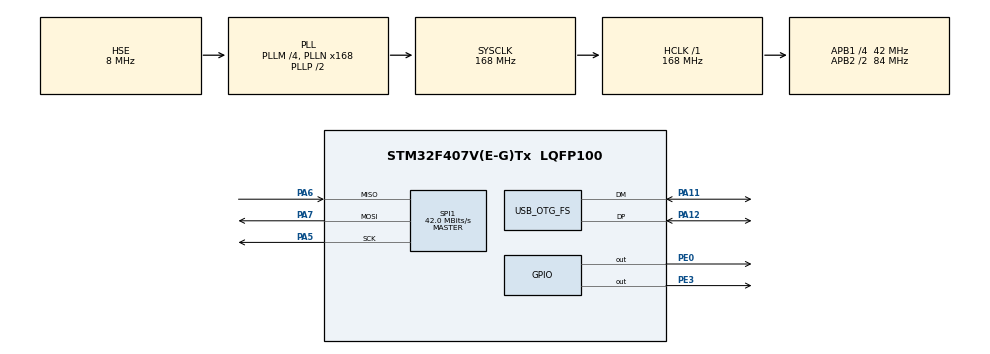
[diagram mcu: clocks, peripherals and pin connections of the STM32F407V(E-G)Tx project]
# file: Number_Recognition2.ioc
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EdgeImpulse.Number_Recognition_MT2_.1.0.1.MachineLearningCcNumberIiRecognitionIiMT2IiJjCore=true
Mcu.Family=STM32F4
Mcu.Name=STM32F407V(E-G)Tx
Mcu.Package=LQFP100
NVIC.OTG_FS_IRQn=true\:0\:0\:false\:false\:true\:false\:true\:true
NVIC.PriorityGroup=NVIC_PRIORITYGROUP_4
PA11.Mode=Device_Only
PA11.Signal=USB_OTG_FS_DM
PA12.Mode=Device_Only
PA12.Signal=USB_OTG_FS_DP
PA13.Mode=Trace_Asynchronous_SW
PA13.Signal=SYS_JTMS-SWDIO
PA14.Mode=Trace_Asynchronous_SW
PA14.Signal=SYS_JTCK-SWCLK
PA5.Mode=Full_Duplex_Master
PA5.Signal=SPI1_SCK
PA6.Mode=Full_Duplex_Master
PA6.Signal=SPI1_MISO
PA7.Mode=Full_Duplex_Master
PA7.Signal=SPI1_MOSI
PB3.Mode=Trace_Asynchronous_SW
PB3.Signal=SYS_JTDO-SWO
PE0.Signal=GPIO_Output
PE3.Signal=GPIO_Output
PH0-OSC_IN.Mode=HSE-External-Oscillator
PH0-OSC_IN.Signal=RCC_OSC_IN
PH1-OSC_OUT.Mode=HSE-External-Oscillator
PH1-OSC_OUT.Signal=RCC_OSC_OUT
ProjectManager.HeapSize=0x200
ProjectManager.StackSize=0x400
ProjectManager.TargetToolchain=STM32CubeIDE
RCC.48MHZClocksFreq_Value=48000000
RCC.AHBFreq_Value=168000000
RCC.APB1CLKDivider=RCC_HCLK_DIV4
RCC.APB1Freq_Value=42000000
RCC.APB1TimFreq_Value=84000000
RCC.APB2CLKDivider=RCC_HCLK_DIV2
RCC.APB2Freq_Value=84000000
RCC.APB2TimFreq_Value=168000000
RCC.CortexFreq_Value=168000000
RCC.HCLKFreq_Value=168000000
RCC.HSE_VALUE=8000000
RCC.HSI_VALUE=16000000
RCC.LSE_VALUE=32768
RCC.PLLM=4
RCC.PLLN=168
RCC.PLLQ=7
RCC.SYSCLKFreq_VALUE=168000000
RCC.SYSCLKSource=RCC_SYSCLKSOURCE_PLLCLK
RCC.VCOOutputFreq_Value=336000000
SPI1.CalculateBaudRate=42.0 MBits/s
SPI1.Direction=SPI_DIRECTION_2LINES
SPI1.Mode=SPI_MODE_MASTER
SPI1.VirtualType=VM_MASTER
USB_DEVICE.CLASS_NAME_FS=CDC
USB_DEVICE.VirtualMode-CDC_FS=Cdc
USB_DEVICE.VirtualModeFS=Cdc_FS
USB_OTG_FS.VirtualMode=Device_Only
VP_CRC_VS_CRC.Mode=CRC_Activate
VP_EdgeImpulse.Number_Recognition_MT2__VS_NumberIiRecognitionIiMT2IiJjMachineLearning_1.0.1_1.0.1.Mode=NumberIiRecognitionIiMT2IiJjMachineLearning
VP_USB_DEVICE_VS_USB_DEVICE_CDC_FS.Mode=CDC_FS
board=custom

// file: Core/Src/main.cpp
/* USER CODE BEGIN Header */
/**
  ******************************************************************************
  * @file           : main.c
  * @brief          : Main program body
  ******************************************************************************
  * @attention
  *
  * Copyright (c) 2022 STMicroelectronics.
  * All rights reserved.
  *
  * This software is licensed under terms that can be found in the LICENSE file
  * in the root directory of this software component.
  * If no LICENSE file comes with this software, it is provided AS-IS.
  *
  ******************************************************************************
  */
/* USER CODE END Header */
#include "main.h"
#include "usb_device.h"
/* USER CODE BEGIN Includes */
#include "usbd_cdc_if.h"
#include "string.h"
#include "MY_LIS3DSH.h"
#include <stdio.h>
/* USER CODE END Includes */

/* USER CODE BEGIN PTD */
uint8_t sendbuffer[]="Hello world\n";
LIS3DSH_InitTypeDef myAccConfigDef;
/* USER CODE END PTD */

 CRC_HandleTypeDef hcrc;

SPI_HandleTypeDef hspi1;

void SystemClock_Config(void);
static void MX_GPIO_Init(void);
static void MX_SPI1_Init(void);
static void MX_CRC_Init(void);

/* USER CODE BEGIN 0 */
    char *comma = ",";
	char *end = " \n";
	char *message[500] = {};
    char * recivebuffer[64];
/* USER CODE END 0 */

int main(void)
{

  /* MCU Configuration--------------------------------------------------------*/

  /* Reset of all peripherals, Initializes the Flash interface and the Systick. */
  HAL_Init();

  /* Configure the system clock */
  SystemClock_Config();

  /* Initialize all configured peripherals */
  MX_GPIO_Init();
  MX_USB_DEVICE_Init();
  MX_SPI1_Init();
  MX_CRC_Init();
  /* USER CODE BEGIN 2 */
  myAccConfigDef.dataRate = LIS3DSH_DATARATE_25;
  	myAccConfigDef.fullScale = LIS3DSH_FULLSCALE_4;
  	myAccConfigDef.antiAliasingBW = LIS3DSH_FILTER_BW_50;//update rate
  	myAccConfigDef.enableAxes = LIS3DSH_XYZ_ENABLE;
  	myAccConfigDef.interruptEnable = false;
  	LIS3DSH_Init(&hspi1, &myAccConfigDef);
  	LIS3DSH_DataScaled myscaledata;
  /* USER CODE END 2 */

  /* Infinite loop */
  /* USER CODE BEGIN WHILE */
  while (1)
  {
	 // CDC_Transmit_FS(sendbuffer, strlen(sendbuffer));
	//  HAL_Delay(100);
	  	 char *ret;
	 // ret = strstr(recivebuffer, "9");
	 			  	  //  if (!ret)
	 			  	    {
	  if (LIS3DSH_PollDRDY(100)==true)
	  {
		myscaledata=LIS3DSH_GetDataScaled();

	  }
    /* USER CODE END WHILE */

	 			  	    }
  }
}

void SystemClock_Config(void)
{
  RCC_OscInitTypeDef RCC_OscInitStruct = {0};
  RCC_ClkInitTypeDef RCC_ClkInitStruct = {0};

  /** Configure the main internal regulator output voltage
  */
  __HAL_RCC_PWR_CLK_ENABLE();
  __HAL_PWR_VOLTAGESCALING_CONFIG(PWR_REGULATOR_VOLTAGE_SCALE1);

  /** Initializes the RCC Oscillators according to the specified parameters
  * in the RCC_OscInitTypeDef structure.
  */
  RCC_OscInitStruct.OscillatorType = RCC_OSCILLATORTYPE_HSE;
  RCC_OscInitStruct.HSEState = RCC_HSE_ON;
  RCC_OscInitStruct.PLL.PLLState = RCC_PLL_ON;
  RCC_OscInitStruct.PLL.PLLSource = RCC_PLLSOURCE_HSE;
  RCC_OscInitStruct.PLL.PLLM = 4;
  RCC_OscInitStruct.PLL.PLLN = 168;
  RCC_OscInitStruct.PLL.PLLP = RCC_PLLP_DIV2;
  RCC_OscInitStruct.PLL.PLLQ = 7;
  if (HAL_RCC_OscConfig(&RCC_OscInitStruct) != HAL_OK)
  {
    Error_Handler();
  }

  /** Initializes the CPU, AHB and APB buses clocks
  */
  RCC_ClkInitStruct.ClockType = RCC_CLOCKTYPE_HCLK|RCC_CLOCKTYPE_SYSCLK
                              |RCC_CLOCKTYPE_PCLK1|RCC_CLOCKTYPE_PCLK2;
  RCC_ClkInitStruct.SYSCLKSource = RCC_SYSCLKSOURCE_PLLCLK;
  RCC_ClkInitStruct.AHBCLKDivider = RCC_SYSCLK_DIV1;
  RCC_ClkInitStruct.APB1CLKDivider = RCC_HCLK_DIV4;
  RCC_ClkInitStruct.APB2CLKDivider = RCC_HCLK_DIV2;

  if (HAL_RCC_ClockConfig(&RCC_ClkInitStruct, FLASH_LATENCY_5) != HAL_OK)
  {
    Error_Handler();
  }
}

static void MX_CRC_Init(void)
{

  hcrc.Instance = CRC;
  if (HAL_CRC_Init(&hcrc) != HAL_OK)
  {
    Error_Handler();
  }

}

static void MX_SPI1_Init(void)
{

  /* SPI1 parameter configuration*/
  hspi1.Instance = SPI1;
  hspi1.Init.Mode = SPI_MODE_MASTER;
  hspi1.Init.Direction = SPI_DIRECTION_2LINES;
  hspi1.Init.DataSize = SPI_DATASIZE_8BIT;
  hspi1.Init.CLKPolarity = SPI_POLARITY_LOW;
  hspi1.Init.CLKPhase = SPI_PHASE_1EDGE;
  hspi1.Init.NSS = SPI_NSS_SOFT;
  hspi1.Init.BaudRatePrescaler = SPI_BAUDRATEPRESCALER_2;
  hspi1.Init.FirstBit = SPI_FIRSTBIT_MSB;
  hspi1.Init.TIMode = SPI_TIMODE_DISABLE;
  hspi1.Init.CRCCalculation = SPI_CRCCALCULATION_DISABLE;
  hspi1.Init.CRCPolynomial = 10;
  if (HAL_SPI_Init(&hspi1) != HAL_OK)
  {
    Error_Handler();
  }

}

static void MX_GPIO_Init(void)
{
  GPIO_InitTypeDef GPIO_InitStruct = {0};

  /* GPIO Ports Clock Enable */
  __HAL_RCC_GPIOE_CLK_ENABLE();
  __HAL_RCC_GPIOH_CLK_ENABLE();
  __HAL_RCC_GPIOA_CLK_ENABLE();
  __HAL_RCC_GPIOB_CLK_ENABLE();

  /*Configure GPIO pin Output Level */
  HAL_GPIO_WritePin(GPIOE, GPIO_PIN_3|GPIO_PIN_0, GPIO_PIN_RESET);

  /*Configure GPIO pins : PE3 PE0 */
  GPIO_InitStruct.Pin = GPIO_PIN_3|GPIO_PIN_0;
  GPIO_InitStruct.Mode = GPIO_MODE_OUTPUT_PP;
  GPIO_InitStruct.Pull = GPIO_NOPULL;
  GPIO_InitStruct.Speed = GPIO_SPEED_FREQ_LOW;
  HAL_GPIO_Init(GPIOE, &GPIO_InitStruct);

}

void Error_Handler(void)
{
  __disable_irq();
  while (1)
  {
  }
}
